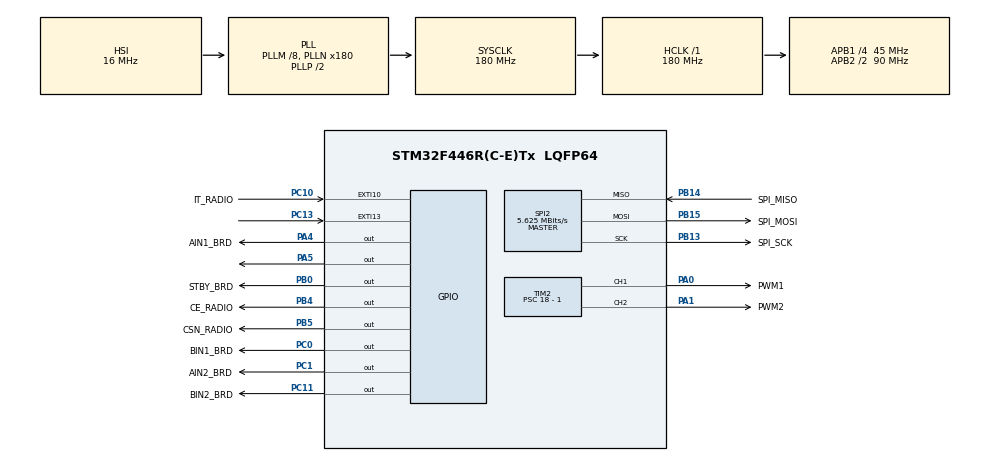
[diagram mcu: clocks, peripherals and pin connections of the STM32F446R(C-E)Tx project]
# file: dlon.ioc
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Mcu.Family=STM32F4
Mcu.Name=STM32F446R(C-E)Tx
Mcu.Package=LQFP64
NUCLEO-F446RE.BUTTON=1
NUCLEO-F446RE.LD1=true
NVIC.EXTI15_10_IRQn=true\:2\:0\:true\:false\:true\:true\:true\:true
NVIC.PriorityGroup=NVIC_PRIORITYGROUP_2
PA0-WKUP.GPIO_Label=PWM1
PA0-WKUP.Signal=S_TIM2_CH1_ETR
PA1.GPIO_Label=PWM2
PA1.Signal=S_TIM2_CH2
PA13.GPIO_Label=TMS
PA13.Mode=Trace_Asynchronous_SW
PA13.Signal=SYS_JTMS-SWDIO
PA14.GPIO_Label=TCK
PA14.Mode=Trace_Asynchronous_SW
PA14.Signal=SYS_JTCK-SWCLK
PA4.GPIO_Label=AIN1_BRD
PA4.Signal=GPIO_Output
PA5.Signal=GPIO_Output
PB0.GPIO_Label=STBY_BRD
PB0.Signal=GPIO_Output
PB13.GPIO_Label=SPI_SCK
PB13.Mode=Full_Duplex_Master
PB13.Signal=SPI2_SCK
PB14.GPIO_Label=SPI_MISO
PB14.Mode=Full_Duplex_Master
PB14.Signal=SPI2_MISO
PB15.GPIO_Label=SPI_MOSI
PB15.Mode=Full_Duplex_Master
PB15.Signal=SPI2_MOSI
PB3.GPIO_Label=SWO
PB3.Mode=Trace_Asynchronous_SW
PB3.Signal=SYS_JTDO-SWO
PB4.GPIO_Label=CE_RADIO
PB4.Signal=GPIO_Output
PB5.GPIO_Label=CSN_RADIO
PB5.PinState=GPIO_PIN_SET
PB5.Signal=GPIO_Output
PC0.GPIO_Label=BIN1_BRD
PC0.Signal=GPIO_Output
PC1.GPIO_Label=AIN2_BRD
PC1.Signal=GPIO_Output
PC10.GPIO_Label=IT_RADIO
PC10.GPIO_ModeDefaultEXTI=GPIO_MODE_IT_FALLING
PC10.GPIO_PuPd=GPIO_PULLUP
PC10.Signal=GPXTI10
PC11.GPIO_Label=BIN2_BRD
PC11.Signal=GPIO_Output
PC13.Signal=GPXTI13
ProjectManager.HeapSize=0x200
ProjectManager.StackSize=0x400
ProjectManager.TargetToolchain=STM32CubeIDE
RCC.AHBFreq_Value=180000000
RCC.APB1CLKDivider=RCC_HCLK_DIV4
RCC.APB1Freq_Value=45000000
RCC.APB1TimFreq_Value=90000000
RCC.APB2CLKDivider=RCC_HCLK_DIV2
RCC.APB2Freq_Value=90000000
RCC.APB2TimFreq_Value=180000000
RCC.CortexFreq_Value=180000000
RCC.FLatency-AdvancedSettings=FLASH_LATENCY_5
RCC.HCLKFreq_Value=180000000
RCC.HSE_VALUE=8000000
RCC.HSI_VALUE=16000000
RCC.LSE_VALUE=32768
RCC.PLLM=8
RCC.PLLN=180
RCC.SYSCLKFreq_VALUE=180000000
RCC.SYSCLKSource=RCC_SYSCLKSOURCE_PLLCLK
RCC.USBFreq_Value=180000000
RCC.VCOOutputFreq_Value=360000000
SH.S_TIM2_CH1_ETR.0=TIM2_CH1,PWM Generation1 CH1
SH.S_TIM2_CH2.0=TIM2_CH2,PWM Generation2 CH2
SPI2.BaudRatePrescaler=SPI_BAUDRATEPRESCALER_8
SPI2.CalculateBaudRate=5.625 MBits/s
SPI2.Direction=SPI_DIRECTION_2LINES
SPI2.Mode=SPI_MODE_MASTER
SPI2.VirtualType=VM_MASTER
TIM2.Channel-PWM\ Generation1\ CH1=TIM_CHANNEL_1
TIM2.Channel-PWM\ Generation2\ CH2=TIM_CHANNEL_2
TIM2.Period=1000 - 1
TIM2.Prescaler=18 - 1
VP_NUCLEO-F446RE_VS_BSP_COMMON.Mode=COMMON
VP_TIM2_VS_ClockSourceINT.Mode=Internal
board=NUCLEO-F446RE

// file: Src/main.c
/* USER CODE BEGIN Header */
/**
  ******************************************************************************
  * @file           : main.c
  * @brief          : Main program body
  ******************************************************************************
  * @attention
  *
  * Copyright (c) 2026 STMicroelectronics.
  * All rights reserved.
  *
  * This software is licensed under terms that can be found in the LICENSE file
  * in the root directory of this software component.
  * If no LICENSE file comes with this software, it is provided AS-IS.
  *
  ******************************************************************************
  */
/* USER CODE END Header */
#include "main.h"
#include "spi.h"
#include "tim.h"
#include "gpio.h"

void SystemClock_Config(void);

int main(void)
{

  /* MCU Configuration--------------------------------------------------------*/

  /* Reset of all peripherals, Initializes the Flash interface and the Systick. */
  HAL_Init();

  /* Configure the system clock */
  SystemClock_Config();

  /* Initialize all configured peripherals */
  MX_GPIO_Init();
  MX_SPI2_Init();
  MX_TIM2_Init();
  /* USER CODE BEGIN 2 */
  HAL_TIM_PWM_Start(&htim2, TIM_CHANNEL_1);
  HAL_TIM_PWM_Start(&htim2, TIM_CHANNEL_2);
  /* USER CODE END 2 */

  /* Initialize leds */
  BSP_LED_Init(LED2);

  /* Initialize USER push-button, will be used to trigger an interrupt each time it's pressed.*/
  BSP_PB_Init(BUTTON_USER, BUTTON_MODE_EXTI);

  /* Infinite loop */
  /* USER CODE BEGIN WHILE */
  while (1)
  {
	if (HAL_GPIO_ReadPin(USER_BUTTON_GPIO_PORT, USER_BUTTON_PIN) == GPIO_PIN_RESET)
	{
		HAL_GPIO_WritePin(STBY_BRD_GPIO_Port, STBY_BRD_Pin, GPIO_PIN_SET);

		// Jazda do przodu
		HAL_GPIO_WritePin(AIN1_BRD_GPIO_Port, AIN1_BRD_Pin, GPIO_PIN_SET);
		HAL_GPIO_WritePin(AIN2_BRD_GPIO_Port, AIN2_BRD_Pin, GPIO_PIN_RESET);
		HAL_GPIO_WritePin(BIN1_BRD_GPIO_Port, BIN1_BRD_Pin, GPIO_PIN_SET);
		HAL_GPIO_WritePin(BIN2_BRD_GPIO_Port, BIN2_BRD_Pin, GPIO_PIN_RESET);

		// Ustawienie PWM na 40%
		__HAL_TIM_SET_COMPARE(&htim2, TIM_CHANNEL_1, 400);
		__HAL_TIM_SET_COMPARE(&htim2, TIM_CHANNEL_2, 400);
		HAL_Delay(2000);

		// Jazda do tyłu
		HAL_GPIO_WritePin(AIN1_BRD_GPIO_Port, AIN1_BRD_Pin, GPIO_PIN_RESET);
		HAL_GPIO_WritePin(AIN2_BRD_GPIO_Port, AIN2_BRD_Pin, GPIO_PIN_SET);
	    HAL_GPIO_WritePin(BIN1_BRD_GPIO_Port, BIN1_BRD_Pin, GPIO_PIN_RESET);
	    HAL_GPIO_WritePin(BIN2_BRD_GPIO_Port, BIN2_BRD_Pin, GPIO_PIN_SET);
	    HAL_Delay(2000);

	    // Obrócenie w pierwszą stronę
		HAL_GPIO_WritePin(AIN1_BRD_GPIO_Port, AIN1_BRD_Pin, GPIO_PIN_SET);
		HAL_GPIO_WritePin(AIN2_BRD_GPIO_Port, AIN2_BRD_Pin, GPIO_PIN_RESET);
	    HAL_GPIO_WritePin(BIN1_BRD_GPIO_Port, BIN1_BRD_Pin, GPIO_PIN_RESET);
	    HAL_GPIO_WritePin(BIN2_BRD_GPIO_Port, BIN2_BRD_Pin, GPIO_PIN_RESET);
	    HAL_Delay(2000);

	    // Obrócenie w drugą stronę
		HAL_GPIO_WritePin(AIN1_BRD_GPIO_Port, AIN1_BRD_Pin, GPIO_PIN_RESET);
		HAL_GPIO_WritePin(AIN2_BRD_GPIO_Port, AIN2_BRD_Pin, GPIO_PIN_RESET);
	    HAL_GPIO_WritePin(BIN1_BRD_GPIO_Port, BIN1_BRD_Pin, GPIO_PIN_SET);
	    HAL_GPIO_WritePin(BIN2_BRD_GPIO_Port, BIN2_BRD_Pin, GPIO_PIN_RESET);
	    HAL_Delay(2000);

	    // Stop
	    __HAL_TIM_SET_COMPARE(&htim2, TIM_CHANNEL_1, 400);
	    __HAL_TIM_SET_COMPARE(&htim2, TIM_CHANNEL_2, 400);
	    HAL_GPIO_WritePin(STBY_BRD_GPIO_Port, STBY_BRD_Pin, GPIO_PIN_RESET);
	}
    /* USER CODE END WHILE */

  }
}

void SystemClock_Config(void)
{
  RCC_OscInitTypeDef RCC_OscInitStruct = {0};
  RCC_ClkInitTypeDef RCC_ClkInitStruct = {0};

  /** Configure the main internal regulator output voltage
  */
  __HAL_RCC_PWR_CLK_ENABLE();
  __HAL_PWR_VOLTAGESCALING_CONFIG(PWR_REGULATOR_VOLTAGE_SCALE1);

  /** Initializes the RCC Oscillators according to the specified parameters
  * in the RCC_OscInitTypeDef structure.
  */
  RCC_OscInitStruct.OscillatorType = RCC_OSCILLATORTYPE_HSI;
  RCC_OscInitStruct.HSIState = RCC_HSI_ON;
  RCC_OscInitStruct.HSICalibrationValue = RCC_HSICALIBRATION_DEFAULT;
  RCC_OscInitStruct.PLL.PLLState = RCC_PLL_ON;
  RCC_OscInitStruct.PLL.PLLSource = RCC_PLLSOURCE_HSI;
  RCC_OscInitStruct.PLL.PLLM = 8;
  RCC_OscInitStruct.PLL.PLLN = 180;
  RCC_OscInitStruct.PLL.PLLP = RCC_PLLP_DIV2;
  RCC_OscInitStruct.PLL.PLLQ = 2;
  RCC_OscInitStruct.PLL.PLLR = 2;
  if (HAL_RCC_OscConfig(&RCC_OscInitStruct) != HAL_OK)
  {
    Error_Handler();
  }

  /** Activate the Over-Drive mode
  */
  if (HAL_PWREx_EnableOverDrive() != HAL_OK)
  {
    Error_Handler();
  }

  /** Initializes the CPU, AHB and APB buses clocks
  */
  RCC_ClkInitStruct.ClockType = RCC_CLOCKTYPE_HCLK|RCC_CLOCKTYPE_SYSCLK
                              |RCC_CLOCKTYPE_PCLK1|RCC_CLOCKTYPE_PCLK2;
  RCC_ClkInitStruct.SYSCLKSource = RCC_SYSCLKSOURCE_PLLCLK;
  RCC_ClkInitStruct.AHBCLKDivider = RCC_SYSCLK_DIV1;
  RCC_ClkInitStruct.APB1CLKDivider = RCC_HCLK_DIV4;
  RCC_ClkInitStruct.APB2CLKDivider = RCC_HCLK_DIV2;

  if (HAL_RCC_ClockConfig(&RCC_ClkInitStruct, FLASH_LATENCY_5) != HAL_OK)
  {
    Error_Handler();
  }
}

void Error_Handler(void)
{
  __disable_irq();
  while (1)
  {
  }
}
